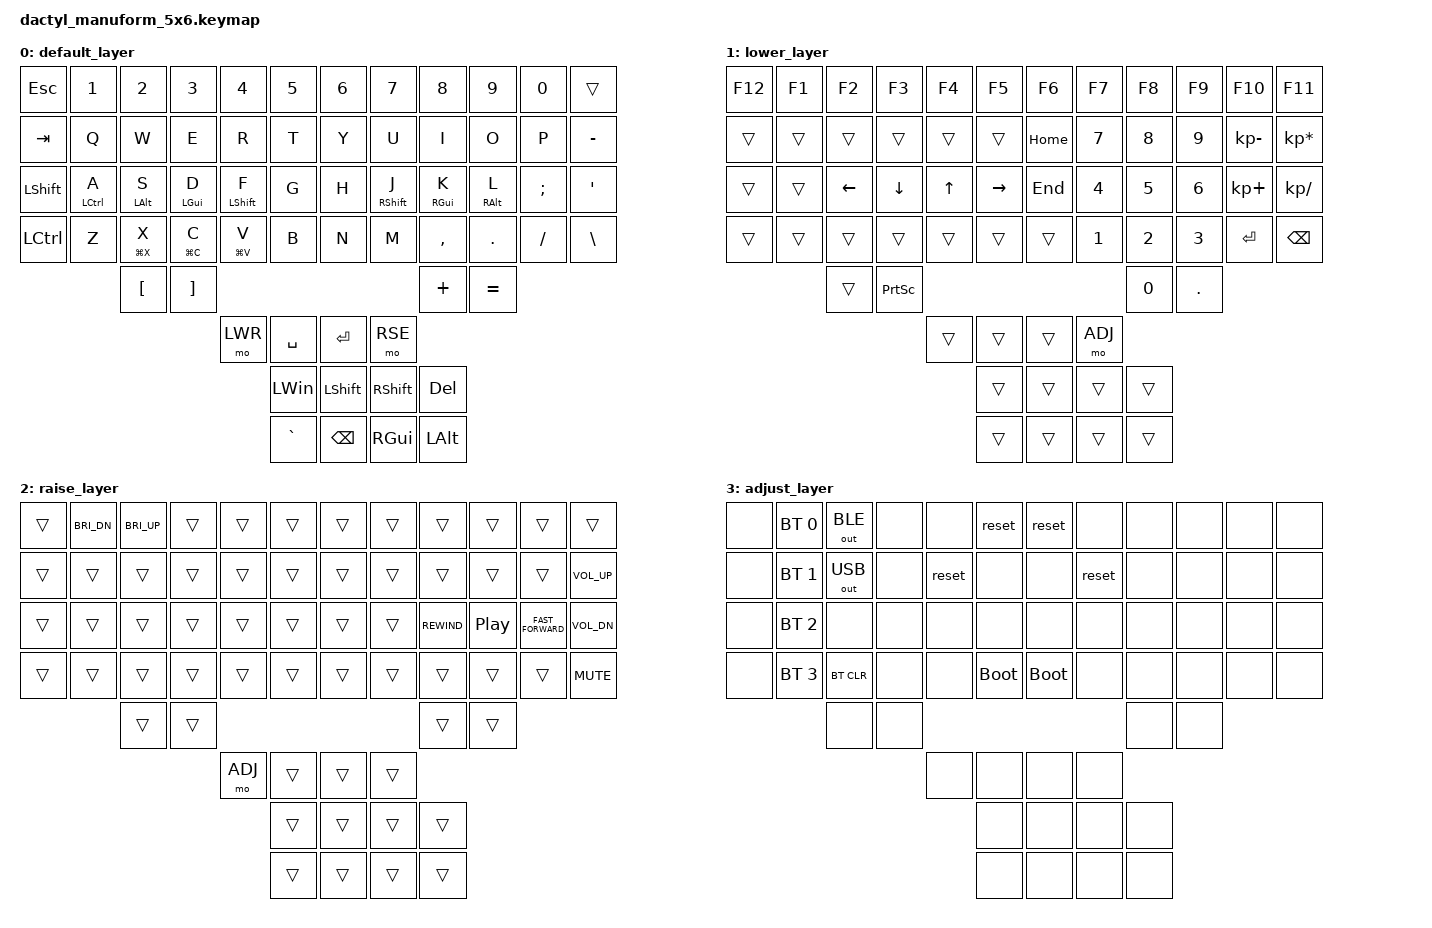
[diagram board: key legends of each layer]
#include <behaviors.dtsi>
#include <dt-bindings/zmk/bt.h>
#include <dt-bindings/zmk/keys.h>
#include <dt-bindings/zmk/outputs.h>

#define DEFAULT 0
#define LWR 1
#define RSE 2
#define ADJ 3

/ {
    behaviors {
        underscoreDBTap: underscoreDBTap {
            compatible = "zmk,behavior-tap-dance";
            label = "UNDERSCOREDBTAP";
            #binding-cells = <0>;
            bindings = <&kp MINUS>, <&kp UNDER>;
        };

        LongPress: LongPress {
            compatible = "zmk,behavior-hold-tap";
            label = "LONGPRESS";
            bindings = <&kp>, <&kp>;

            #binding-cells = <2>;
            tapping-term-ms = <350>;
            flavor = "tap-preferred";
        };

        PlusDBTap: PlusDBTap {
            compatible = "zmk,behavior-tap-dance";
            label = "PLUSDBTAP";
            #binding-cells = <0>;
            bindings = <&kp EQUAL>, <&kp PLUS>;
        };

        ColonDBT: ColonDBT {
            compatible = "zmk,behavior-tap-dance";
            label = "COLONDBT";
            #binding-cells = <0>;
            bindings = <&kp SEMI>, <&kp COLON>;
        };

        QuoteDBT: QuoteDBT {
            compatible = "zmk,behavior-tap-dance";
            label = "QUOTEDBT";
            #binding-cells = <0>;
            bindings = <&kp APOS>, <&kp DOUBLE_QUOTES>;
        };

        CommaDBT: CommaDBT {
            compatible = "zmk,behavior-tap-dance";
            label = "COMMADBT";
            #binding-cells = <0>;
            bindings = <&kp PERIOD>, <&kp KP_COMMA>;
        };

        HMShiftR: HMShiftR {
            compatible = "zmk,behavior-hold-tap";
            label = "HMSHIFTR";
            bindings = <&kp>, <&kp>;

            #binding-cells = <2>;
            tapping-term-ms = <200>;
            hold-while-undecided;
            hold-trigger-key-positions = <0 1 2 3 4 5 12 13 14 15 16 17 24 25 26 27 28 29 36 37 38 39 40 41 48 49 52 53 56 57 60 61>;
            hold-trigger-on-release;
        };

        HML: HML {
            compatible = "zmk,behavior-hold-tap";
            label = "HML";
            bindings = <&kp>, <&kp>;

            #binding-cells = <2>;
            tapping-term-ms = <200>;
            hold-while-undecided;
            hold-trigger-on-release;
            hold-trigger-key-positions = <6 7 8 9 10 11 18 19 20 21 22 23 30 31 32 33 34 35 42 43 44 45 46 47 50 51 54 55 58 59 62 63>;
            flavor = "tap-preferred";
        };

        HMR: HMR {
            compatible = "zmk,behavior-hold-tap";
            label = "HMR";
            bindings = <&kp>, <&kp>;

            #binding-cells = <2>;
            tapping-term-ms = <200>;
            hold-while-undecided;
            hold-trigger-key-positions = <0 1 2 3 4 5 12 13 14 15 16 17 24 25 26 27 28 29 36 37 38 39 40 41 48 49 52 53 56 57 60 61>;
            hold-trigger-on-release;
            flavor = "tap-preferred";
        };

        HMShiftL: HMShiftL {
            compatible = "zmk,behavior-hold-tap";
            label = "HMSHIFTL";
            bindings = <&kp>, <&kp>;

            #binding-cells = <2>;
            tapping-term-ms = <200>;
            hold-while-undecided;
            hold-trigger-on-release;
            hold-trigger-key-positions = <6 7 8 9 10 11 18 19 20 21 22 23 30 31 32 33 34 35 42 43 44 45 46 47 50 51 54 55 59 63 58 59 62 63>;
        };
    };

    keymap {
        compatible = "zmk,keymap";

        default_layer {
            bindings = <
&kp ESC    &kp N1               &kp N2              &kp N3              &kp N4                  &kp N5                             &kp N6     &kp N7              &kp N8            &kp N9            &kp N0    &trans
&kp TAB    &kp Q                &kp W               &kp E               &kp R                   &kp T                              &kp Y      &kp U               &kp I             &kp O             &kp P     &kp MINUS
&kp LSHFT  &HML LEFT_CONTROL A  &HML LEFT_ALT S     &HML LEFT_GUI D     &HMShiftL LEFT_SHIFT F  &kp G                              &kp H      &HMR RIGHT_SHIFT J  &HMR RIGHT_GUI K  &HMR RIGHT_ALT L  &kp SEMI  &kp SQT
&kp LCTRL  &kp Z                &LongPress LG(X) X  &LongPress LG(C) C  &LongPress LG(V) V      &kp B                              &kp N      &kp M               &kp COMMA         &kp DOT           &kp FSLH  &kp BSLH
                                &kp LBKT            &kp RBKT                                                                                                      &kp PLUS          &kp EQUAL
                                                                        &mo LWR                 &kp SPACE                          &kp ENTER  &mo RSE
                                                                                                &kp LWIN   &kp LSHIFT  &kp RSHIFT  &kp DEL
                                                                                                &kp GRAVE  &kp BSPC    &kp RGUI    &kp LALT
            >;
        };

        lower_layer {
            bindings = <
&kp F12  &kp F1  &kp F2    &kp F3     &kp F4  &kp F5                     &kp F6    &kp F7   &kp F8  &kp F9   &kp F10       &kp F11
&trans   &trans  &trans    &trans     &trans  &trans                     &kp HOME  &kp N7   &kp N8  &kp N9   &kp KP_MINUS  &kp KP_MULTIPLY
&trans   &trans  &kp LEFT  &kp DOWN   &kp UP  &kp RIGHT                  &kp END   &kp N4   &kp N5  &kp N6   &kp KP_PLUS   &kp KP_DIVIDE
&trans   &trans  &trans    &trans     &trans  &trans                     &trans    &kp N1   &kp N2  &kp N3   &kp RET       &kp BSPC
                 &trans    &kp PSCRN                                                        &kp N0  &kp DOT
                                      &trans  &trans                     &trans    &mo ADJ
                                              &trans     &trans  &trans  &trans
                                              &trans     &trans  &trans  &trans
            >;
        };

        raise_layer {
            bindings = <
&trans  &kp C_BRI_DN  &kp C_BRI_UP  &trans  &trans   &trans                  &trans  &trans  &trans        &trans            &trans              &trans
&trans  &trans        &trans        &trans  &trans   &trans                  &trans  &trans  &trans        &trans            &trans              &kp C_VOL_UP
&trans  &trans        &trans        &trans  &trans   &trans                  &trans  &trans  &kp C_REWIND  &kp C_PLAY_PAUSE  &kp C_FAST_FORWARD  &kp C_VOL_DN
&trans  &trans        &trans        &trans  &trans   &trans                  &trans  &trans  &trans        &trans            &trans              &kp C_MUTE
                      &trans        &trans                                                   &trans        &trans
                                            &mo ADJ  &trans                  &trans  &trans
                                                     &trans  &trans  &trans  &trans
                                                     &trans  &trans  &trans  &trans
            >;
        };

        adjust_layer {
            bindings = <
&none  &bt BT_SEL 0  &out OUT_BLE  &none  &none   &reset                     &reset       &none   &none  &none  &none  &none
&none  &bt BT_SEL 1  &out OUT_USB  &none  &reset  &none                      &none        &reset  &none  &none  &none  &none
&none  &bt BT_SEL 2  &none         &none  &none   &none                      &none        &none   &none  &none  &none  &none
&none  &bt BT_SEL 3  &bt BT_CLR    &none  &none   &bootloader                &bootloader  &none   &none  &none  &none  &none
                     &none         &none                                                          &none  &none
                                          &none   &none                      &none        &none
                                                  &none        &none  &none  &none
                                                  &none        &none  &none  &none
            >;
        };
    };
};
